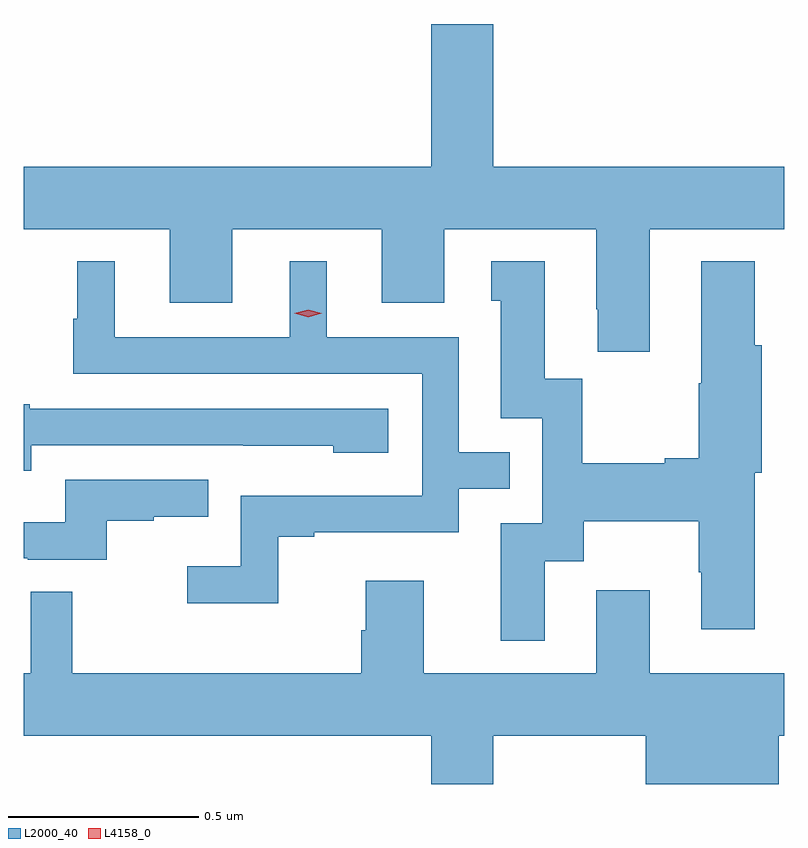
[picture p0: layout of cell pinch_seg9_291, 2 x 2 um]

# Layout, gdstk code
import gdstk
lib = gdstk.Library(unit=1e-6, precision=1e-09)
def P(c, l, *ps):  # polygons
    for p in ps: c.add(gdstk.Polygon(p, *l))
L2000_40 = (2000, 40)
L4158_0 = (4158, 0)

pinch_seg9_291 = lib.new_cell('pinch_seg9_291')
P(pinch_seg9_291, L2000_40, [(453.295,1188.428),(453.649,1188.428),(453.649,1188.592),(452.884,1188.592),(452.884,1188.967),(452.72,1188.967),(452.72,1188.592),(451.649,1188.592),(451.649,1188.428),(452.033,1188.428),(452.033,1188.234),(452.197,1188.234),(452.197,1188.428),(452.591,1188.428),(452.591,1188.234),(452.755,1188.234),(452.755,1188.428),(453.155,1188.428),(453.155,1188.217),(453.158,1188.217),(453.158,1188.105),(453.295,1188.105)],
  [(452.319,1187.619),(452.413,1187.619),(452.413,1187.631),(452.793,1187.631),(452.793,1187.745),(452.927,1187.745),(452.927,1187.841),(452.793,1187.841),(452.793,1188.144),(452.446,1188.144),(452.446,1188.343),(452.348,1188.343),(452.348,1188.144),(451.888,1188.144),(451.888,1188.343),(451.79,1188.343),(451.79,1188.192),(451.779,1188.192),(451.779,1188.048),(452.697,1188.048),(452.697,1187.727),(452.22,1187.727),(452.22,1187.542),(452.079,1187.542),(452.079,1187.444),(452.319,1187.444)],
  [(453.019,1187.554),(453.121,1187.554),(453.121,1187.66),(453.424,1187.66),(453.424,1187.526),(453.431,1187.526),(453.431,1187.376),(453.571,1187.376),(453.571,1187.787),(453.589,1187.787),(453.589,1188.123),(453.571,1188.123),(453.571,1188.343),(453.431,1188.343),(453.431,1188.023),(453.424,1188.023),(453.424,1187.825),(453.335,1187.825),(453.335,1187.812),(453.117,1187.812),(453.117,1188.035),(453.019,1188.035),(453.019,1188.343),(452.879,1188.343),(452.879,1188.24),(452.903,1188.24),(452.903,1187.931),(453.012,1187.931),(453.012,1187.655),(452.903,1187.655),(452.903,1187.346),(453.019,1187.346)],
  [(451.669,1187.859),(452.227,1187.859),(452.227,1187.858),(452.463,1187.858),(452.463,1187.84),(452.608,1187.84),(452.608,1187.955),(451.665,1187.955),(451.665,1187.968),(451.649,1187.968),(451.649,1187.792),(451.669,1187.792)],
  [(451.868,1187.661),(451.991,1187.661),(451.991,1187.672),(452.135,1187.672),(452.135,1187.769),(451.758,1187.769),(451.758,1187.657),(451.649,1187.657),(451.649,1187.562),(451.66,1187.562),(451.66,1187.559),(451.868,1187.559)],
  [(452.884,1187.096),(453.284,1187.096),(453.284,1186.969),(453.634,1186.969),(453.634,1187.096),(453.649,1187.096),(453.649,1187.26),(453.295,1187.26),(453.295,1187.479),(453.155,1187.479),(453.155,1187.26),(452.701,1187.26),(452.701,1187.503),(452.549,1187.503),(452.549,1187.373),(452.537,1187.373),(452.537,1187.26),(451.777,1187.26),(451.777,1187.474),(451.668,1187.474),(451.668,1187.26),(451.649,1187.26),(451.649,1187.096),(452.72,1187.096),(452.72,1186.969),(452.884,1186.969)])
P(pinch_seg9_291, L4158_0, [(452.397,1188.196),(452.361,1188.206),(452.361,1188.206),(452.361,1188.207),(452.397,1188.216),(452.433,1188.207),(452.433,1188.206),(452.433,1188.206)])

lib.write_gds('pinch_seg9_291.gds')
